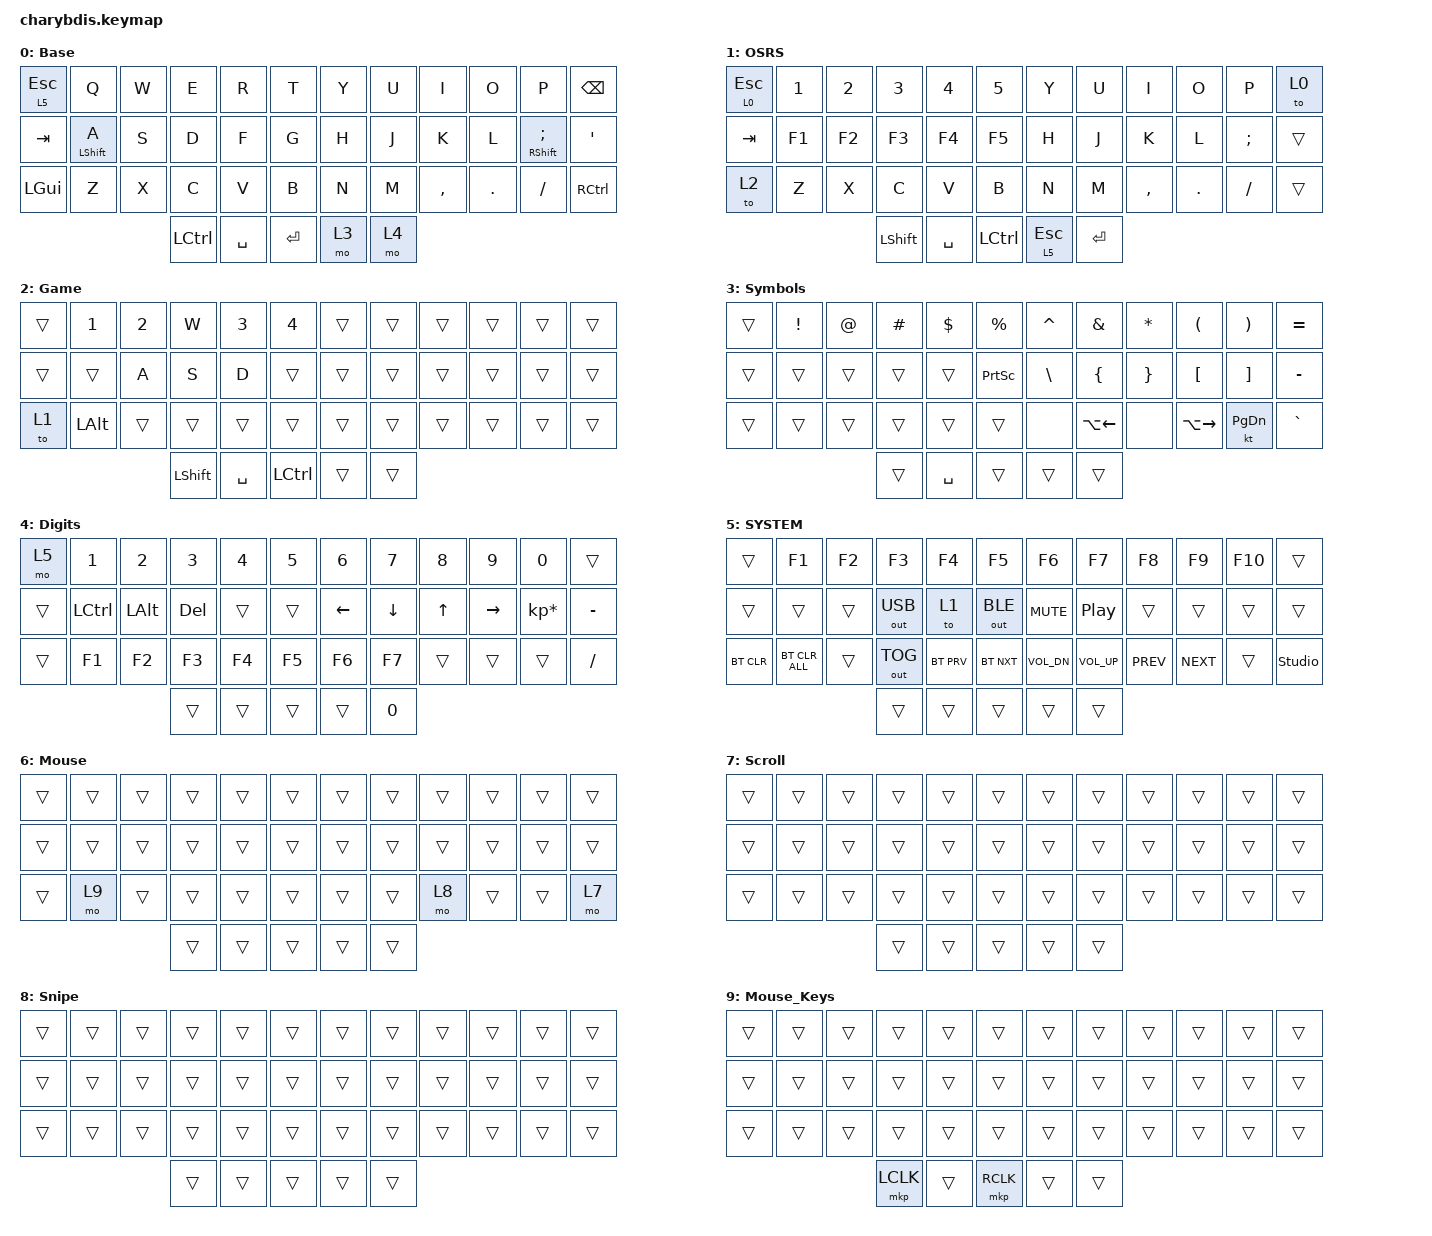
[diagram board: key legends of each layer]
#include <dt-bindings/zmk/mouse.h>
#include <input/processors.dtsi>
#include <dt-bindings/zmk/input_transform.h>

#define KEYS_L LT0 LT1 LT2 LT3 LT4 LM0 LM1 LM2 LM3 LM4 LB0 LB1 LB2 LB3 LB4 LB5  // left hand
#define KEYS_R RT0 RT1 RT2 RT3 RT4 RM0 RM1 RM2 RM3 RM4 RB0 RB1 RB2 RB3 RB4 RB5  // right hand
#define THUMBS LH2 LH1 LH0 RH0 RH1 // thumb cluster for both hands

#include "macros.dtsi"
#include <behaviors.dtsi>
#include <dt-bindings/zmk/bt.h>
#include <dt-bindings/zmk/keys.h>
#include <dt-bindings/zmk/outputs.h>
#include <dt-bindings/zmk/pointing.h>

#define BASE 0
#define GAME 1
#define NAV  2
#define DIG  3
#define SYS  4
#define MOUSE  5
#define SCROLL 6
#define SNIPE 7

&mt { flavor = "balanced"; };

/ {
    trackball_listener {
        compatible = "zmk,input-listener";
        device = <&vtrackball>;

        // scaler: first is multiplier, second one is divider.
        // temp layer: first argument is layer, second is time in ms

        input-processors = <&zip_xy_scaler 1 6>, <&zip_temp_layer MOUSE 1000>;

        snipe {
            layers = <SNIPE>;
            input-processors = <&zip_xy_scaler 1 18>;
        };

        scroll {
            layers = <SCROLL>;

            // scaler: first is multiplier, second one is divider.

            input-processors =
                <&zip_xy_to_scroll_mapper>,
                <&zip_scroll_transform(INPUT_TRANSFORM_XY_SWAP)>,
                <&zip_scroll_scaler 1 72>;
        };
    };

    behaviors {
        hm: hm {
            compatible = "zmk,behavior-hold-tap";
            label = "HM";
            bindings = <&kp>, <&kp>;

            #binding-cells = <2>;
            tapping-term-ms = <150>;
            quick-tap-ms = <125>;
            require-prior-idle-ms = <185>;
            flavor = "tap-preferred";
        };

        ht_left: left_side_homerow_mod {
            compatible = "zmk,behavior-hold-tap";
            label = "lhm";
            bindings = <&kp>, <&kp>;

            #binding-cells = <2>;
            tapping-term-ms = <280>;
            quick-tap-ms = <175>;
            require-prior-idle-ms = <150>;
            flavor = "balanced";
            hold-trigger-on-release;
            hold-trigger-key-positions = <40 39 39>;
        };

        ht_right: right_side_homerow_mod {
            compatible = "zmk,behavior-hold-tap";
            label = "HT_RIGHT";
            bindings = <&kp>, <&kp>;

            #binding-cells = <2>;
            tapping-term-ms = <280>;
            quick-tap-ms = <175>;
            require-prior-idle-ms = <150>;
            flavor = "balanced";
            hold-trigger-on-release;
            hold-trigger-key-positions = <36 37 38>;
        };
    };

    combos { compatible = "zmk,combos"; };

    keymap {
        compatible = "zmk,keymap";

        BASE {
            label = "Base";
            bindings = <
&lt 5 ESC     &kp Q             &kp W  &kp E             &kp R      &kp T        &kp Y  &kp U  &kp I      &kp O       &kp P                      &kp BACKSPACE
&kp TAB       &hm LEFT_SHIFT A  &kp S  &kp D             &kp F      &kp G        &kp H  &kp J  &kp K      &kp L       &hm RIGHT_SHIFT SEMICOLON  &kp SINGLE_QUOTE
&kp LEFT_GUI  &kp Z             &kp X  &kp C             &kp V      &kp B        &kp N  &kp M  &kp COMMA  &kp PERIOD  &kp SLASH                  &kp RIGHT_CONTROL
                                       &kp LEFT_CONTROL  &kp SPACE  &kp ENTER    &mo 3  &mo 4
            >;
        };

        OSRS {
            label = "OSRS";
            bindings = <
&lt 0 ESC  &kp NUMBER_1  &kp NUMBER_2  &kp NUMBER_3    &kp NUMBER_4  &kp NUMBER_5    &kp Y      &kp U    &kp I      &kp O    &kp P          &to 0
&kp TAB    &kp F1        &kp F2        &kp F3          &kp F4        &kp F5          &kp H      &kp J    &kp K      &kp L    &kp SEMICOLON  &trans
&to 2      &kp Z         &kp X         &kp C           &kp V         &kp B           &kp N      &kp M    &kp COMMA  &kp DOT  &kp SLASH      &trans
                                       &kp LEFT_SHIFT  &kp SPACE     &kp LCTRL       &lt 5 ESC  &kp RET
            >;
        };

        Game {
            label = "Game";
            bindings = <
&trans  &kp NUMBER_1  &kp NUMBER_2  &kp W           &kp NUMBER_3  &kp NUMBER_4        &trans  &trans  &trans  &trans  &trans  &trans
&trans  &trans        &kp A         &kp S           &kp D         &trans              &trans  &trans  &trans  &trans  &trans  &trans
&to 1   &kp LEFT_ALT  &trans        &trans          &trans        &trans              &trans  &trans  &trans  &trans  &trans  &trans
                                    &kp LEFT_SHIFT  &kp SPACE     &kp LEFT_CONTROL    &trans  &trans
            >;
        };

        Symbols {
            label = "Symbols";
            bindings = <
&trans  &kp EXCL  &kp AT  &kp HASH  &kp DOLLAR  &kp PERCENT        &kp CARET      &kp AMPERSAND   &kp ASTERISK     &kp LEFT_PARENTHESIS  &kp RIGHT_PARENTHESIS  &kp EQUAL
&trans  &trans    &trans  &trans    &trans      &kp PRINTSCREEN    &kp BACKSLASH  &kp LEFT_BRACE  &kp RIGHT_BRACE  &kp LEFT_BRACKET      &kp RIGHT_BRACKET      &kp MINUS
&trans  &trans    &trans  &trans    &trans      &trans             &none          &kp LA(LEFT)    &none            &kp LA(RIGHT)         &kt PAGE_DOWN          &kp GRAVE
                          &trans    &kp SPACE   &trans             &trans         &trans
            >;
        };

        digits {
            label = "Digits";
            bindings = <
&mo 5   &kp NUMBER_1      &kp NUMBER_2  &kp NUMBER_3  &kp NUMBER_4  &kp N5    &kp NUMBER_6    &kp N7    &kp N8        &kp N9     &kp N0           &trans
&trans  &kp LEFT_CONTROL  &kp LEFT_ALT  &kp DEL       &trans        &trans    &kp LEFT_ARROW  &kp DOWN  &kp UP_ARROW  &kp RIGHT  &kp KP_MULTIPLY  &kp MINUS
&trans  &kp F1            &kp F2        &kp F3        &kp F4        &kp F5    &kp F6          &kp F7    &trans        &trans     &trans           &kp SLASH
                                        &trans        &trans        &trans    &trans          &kp N0
            >;
        };

        system {
            label = "SYSTEM";
            bindings = <
&trans      &kp F1          &kp F2  &kp F3        &kp F4      &kp F5          &kp F6        &kp F7        &kp F8      &kp F9      &kp F10  &trans
&trans      &trans          &trans  &out OUT_USB  &to 1       &out OUT_BLE    &kp C_MUTE    &kp C_PP      &trans      &trans      &trans   &trans
&bt BT_CLR  &bt BT_CLR_ALL  &trans  &out OUT_TOG  &bt BT_PRV  &bt BT_NXT      &kp C_VOL_DN  &kp C_VOL_UP  &kp C_PREV  &kp C_NEXT  &trans   &studio_unlock
                                    &trans        &trans      &trans          &trans        &trans
            >;
        };

        AUTO-MOUSE {
            label = "Mouse";
            bindings = <
&trans  &trans  &trans  &trans  &trans  &trans    &trans  &trans  &trans  &trans  &trans  &trans
&trans  &trans  &trans  &trans  &trans  &trans    &trans  &trans  &trans  &trans  &trans  &trans
&trans  &mo 9   &trans  &trans  &trans  &trans    &trans  &trans  &mo 8   &trans  &trans  &mo 7
                        &trans  &trans  &trans    &trans  &trans
            >;
        };

        SCROLL {
            label = "Scroll";
            bindings = <
&trans  &trans  &trans  &trans  &trans  &trans    &trans  &trans  &trans  &trans  &trans  &trans
&trans  &trans  &trans  &trans  &trans  &trans    &trans  &trans  &trans  &trans  &trans  &trans
&trans  &trans  &trans  &trans  &trans  &trans    &trans  &trans  &trans  &trans  &trans  &trans
                        &trans  &trans  &trans    &trans  &trans
            >;
        };

        SNIPE {
            label = "Snipe";
            bindings = <
&trans  &trans  &trans  &trans  &trans  &trans    &trans  &trans  &trans  &trans  &trans  &trans
&trans  &trans  &trans  &trans  &trans  &trans    &trans  &trans  &trans  &trans  &trans  &trans
&trans  &trans  &trans  &trans  &trans  &trans    &trans  &trans  &trans  &trans  &trans  &trans
                        &trans  &trans  &trans    &trans  &trans
            >;
        };

        Mouse_Keys {
            bindings = <
&trans  &trans  &trans  &trans     &trans  &trans       &trans  &trans  &trans  &trans  &trans  &trans
&trans  &trans  &trans  &trans     &trans  &trans       &trans  &trans  &trans  &trans  &trans  &trans
&trans  &trans  &trans  &trans     &trans  &trans       &trans  &trans  &trans  &trans  &trans  &trans
                        &mkp LCLK  &trans  &mkp RCLK    &trans  &trans
            >;
        };
    };
};
